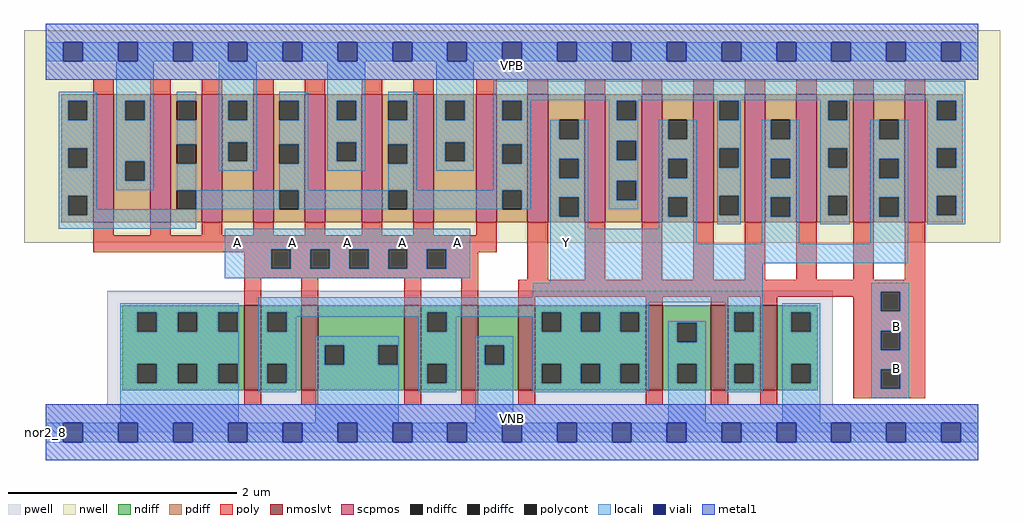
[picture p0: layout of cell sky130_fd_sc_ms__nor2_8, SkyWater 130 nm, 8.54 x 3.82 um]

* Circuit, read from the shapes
.subckt sky130_fd_sc_ms__nor2_8 A B VGND VNB VPB VPWR Y
XM1 Y A VGND VNB sky130_fd_pr__nfet_01v8_lvt w=0.74 l=0.15 m=4
XM2 Y B VGND VNB sky130_fd_pr__nfet_01v8_lvt w=0.74 l=0.15 m=4
XM3 VPWR A n1 VPB sky130_fd_pr__pfet_01v8 w=1.12 l=0.18 m=8
XM4 Y B n1 VPB sky130_fd_pr__pfet_01v8 w=1.12 l=0.18 m=8
.ends

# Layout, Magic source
magic
tech sky130A
magscale 1 2
<< nwell >>
rect -38 332 1670 704
<< pwell >>
rect 108 49 1377 248
rect 0 0 1632 49
<< scpmos >>
rect 83 368 119 592
rect 183 368 219 592
rect 273 368 309 592
rect 363 368 399 592
rect 453 368 489 592
rect 553 368 589 592
rect 643 368 679 592
rect 753 368 789 592
rect 843 368 879 592
rect 943 368 979 592
rect 1043 368 1079 592
rect 1133 368 1169 592
rect 1223 368 1259 592
rect 1313 368 1349 592
rect 1413 368 1449 592
rect 1503 368 1539 592
<< nmoslvt >>
rect 347 74 377 222
rect 447 74 477 222
rect 627 74 657 222
rect 727 74 757 222
rect 827 74 857 222
rect 1050 74 1080 222
rect 1164 74 1194 222
rect 1250 74 1280 222
<< ndiff >>
rect 134 210 347 222
rect 134 176 160 210
rect 194 176 231 210
rect 265 176 302 210
rect 336 176 347 210
rect 134 120 347 176
rect 134 86 160 120
rect 194 86 231 120
rect 265 86 302 120
rect 336 86 347 120
rect 134 74 347 86
rect 377 210 447 222
rect 377 176 388 210
rect 422 176 447 210
rect 377 120 447 176
rect 377 86 388 120
rect 422 86 447 120
rect 377 74 447 86
rect 477 152 627 222
rect 477 118 488 152
rect 522 118 582 152
rect 616 118 627 152
rect 477 74 627 118
rect 657 210 727 222
rect 657 176 668 210
rect 702 176 727 210
rect 657 120 727 176
rect 657 86 668 120
rect 702 86 727 120
rect 657 74 727 86
rect 757 152 827 222
rect 757 118 768 152
rect 802 118 827 152
rect 757 74 827 118
rect 857 210 1050 222
rect 857 176 868 210
rect 902 176 936 210
rect 970 176 1005 210
rect 1039 176 1050 210
rect 857 120 1050 176
rect 857 86 868 120
rect 902 86 936 120
rect 970 86 1005 120
rect 1039 86 1050 120
rect 857 74 1050 86
rect 1080 192 1164 222
rect 1080 158 1105 192
rect 1139 158 1164 192
rect 1080 120 1164 158
rect 1080 86 1105 120
rect 1139 86 1164 120
rect 1080 74 1164 86
rect 1194 210 1250 222
rect 1194 176 1205 210
rect 1239 176 1250 210
rect 1194 120 1250 176
rect 1194 86 1205 120
rect 1239 86 1250 120
rect 1194 74 1250 86
rect 1280 210 1351 222
rect 1280 176 1305 210
rect 1339 176 1351 210
rect 1280 120 1351 176
rect 1280 86 1305 120
rect 1339 86 1351 120
rect 1280 74 1351 86
<< pdiff >>
rect 27 580 83 592
rect 27 546 39 580
rect 73 546 83 580
rect 27 497 83 546
rect 27 463 39 497
rect 73 463 83 497
rect 27 414 83 463
rect 27 380 39 414
rect 73 380 83 414
rect 27 368 83 380
rect 119 580 183 592
rect 119 546 139 580
rect 173 546 183 580
rect 119 474 183 546
rect 119 440 139 474
rect 173 440 183 474
rect 119 368 183 440
rect 219 580 273 592
rect 219 546 229 580
rect 263 546 273 580
rect 219 504 273 546
rect 219 470 229 504
rect 263 470 273 504
rect 219 424 273 470
rect 219 390 229 424
rect 263 390 273 424
rect 219 368 273 390
rect 309 580 363 592
rect 309 546 319 580
rect 353 546 363 580
rect 309 508 363 546
rect 309 474 319 508
rect 353 474 363 508
rect 309 368 363 474
rect 399 580 453 592
rect 399 546 409 580
rect 443 546 453 580
rect 399 504 453 546
rect 399 470 409 504
rect 443 470 453 504
rect 399 424 453 470
rect 399 390 409 424
rect 443 390 453 424
rect 399 368 453 390
rect 489 580 553 592
rect 489 546 509 580
rect 543 546 553 580
rect 489 508 553 546
rect 489 474 509 508
rect 543 474 553 508
rect 489 368 553 474
rect 589 580 643 592
rect 589 546 599 580
rect 633 546 643 580
rect 589 504 643 546
rect 589 470 599 504
rect 633 470 643 504
rect 589 424 643 470
rect 589 390 599 424
rect 633 390 643 424
rect 589 368 643 390
rect 679 580 753 592
rect 679 546 699 580
rect 733 546 753 580
rect 679 508 753 546
rect 679 474 699 508
rect 733 474 753 508
rect 679 368 753 474
rect 789 580 843 592
rect 789 546 799 580
rect 833 546 843 580
rect 789 504 843 546
rect 789 470 799 504
rect 833 470 843 504
rect 789 424 843 470
rect 789 390 799 424
rect 833 390 843 424
rect 789 368 843 390
rect 879 547 943 592
rect 879 513 899 547
rect 933 513 943 547
rect 879 479 943 513
rect 879 445 899 479
rect 933 445 943 479
rect 879 411 943 445
rect 879 377 899 411
rect 933 377 943 411
rect 879 368 943 377
rect 979 580 1043 592
rect 979 546 999 580
rect 1033 546 1043 580
rect 979 510 1043 546
rect 979 476 999 510
rect 1033 476 1043 510
rect 979 440 1043 476
rect 979 406 999 440
rect 1033 406 1043 440
rect 979 368 1043 406
rect 1079 547 1133 592
rect 1079 513 1089 547
rect 1123 513 1133 547
rect 1079 479 1133 513
rect 1079 445 1089 479
rect 1123 445 1133 479
rect 1079 411 1133 445
rect 1079 377 1089 411
rect 1123 377 1133 411
rect 1079 368 1133 377
rect 1169 580 1223 592
rect 1169 546 1179 580
rect 1213 546 1223 580
rect 1169 497 1223 546
rect 1169 463 1179 497
rect 1213 463 1223 497
rect 1169 414 1223 463
rect 1169 380 1179 414
rect 1213 380 1223 414
rect 1169 368 1223 380
rect 1259 547 1313 592
rect 1259 513 1269 547
rect 1303 513 1313 547
rect 1259 479 1313 513
rect 1259 445 1269 479
rect 1303 445 1313 479
rect 1259 411 1313 445
rect 1259 377 1269 411
rect 1303 377 1313 411
rect 1259 368 1313 377
rect 1349 580 1413 592
rect 1349 546 1369 580
rect 1403 546 1413 580
rect 1349 497 1413 546
rect 1349 463 1369 497
rect 1403 463 1413 497
rect 1349 414 1413 463
rect 1349 380 1369 414
rect 1403 380 1413 414
rect 1349 368 1413 380
rect 1449 547 1503 592
rect 1449 513 1459 547
rect 1493 513 1503 547
rect 1449 479 1503 513
rect 1449 445 1459 479
rect 1493 445 1503 479
rect 1449 411 1503 445
rect 1449 377 1459 411
rect 1493 377 1503 411
rect 1449 368 1503 377
rect 1539 580 1605 592
rect 1539 546 1559 580
rect 1593 546 1605 580
rect 1539 497 1605 546
rect 1539 463 1559 497
rect 1593 463 1605 497
rect 1539 414 1605 463
rect 1539 380 1559 414
rect 1593 380 1605 414
rect 1539 368 1605 380
<< ndiffc >>
rect 160 176 194 210
rect 231 176 265 210
rect 302 176 336 210
rect 160 86 194 120
rect 231 86 265 120
rect 302 86 336 120
rect 388 176 422 210
rect 388 86 422 120
rect 488 118 522 152
rect 582 118 616 152
rect 668 176 702 210
rect 668 86 702 120
rect 768 118 802 152
rect 868 176 902 210
rect 936 176 970 210
rect 1005 176 1039 210
rect 868 86 902 120
rect 936 86 970 120
rect 1005 86 1039 120
rect 1105 158 1139 192
rect 1105 86 1139 120
rect 1205 176 1239 210
rect 1205 86 1239 120
rect 1305 176 1339 210
rect 1305 86 1339 120
<< pdiffc >>
rect 39 546 73 580
rect 39 463 73 497
rect 39 380 73 414
rect 139 546 173 580
rect 139 440 173 474
rect 229 546 263 580
rect 229 470 263 504
rect 229 390 263 424
rect 319 546 353 580
rect 319 474 353 508
rect 409 546 443 580
rect 409 470 443 504
rect 409 390 443 424
rect 509 546 543 580
rect 509 474 543 508
rect 599 546 633 580
rect 599 470 633 504
rect 599 390 633 424
rect 699 546 733 580
rect 699 474 733 508
rect 799 546 833 580
rect 799 470 833 504
rect 799 390 833 424
rect 899 513 933 547
rect 899 445 933 479
rect 899 377 933 411
rect 999 546 1033 580
rect 999 476 1033 510
rect 999 406 1033 440
rect 1089 513 1123 547
rect 1089 445 1123 479
rect 1089 377 1123 411
rect 1179 546 1213 580
rect 1179 463 1213 497
rect 1179 380 1213 414
rect 1269 513 1303 547
rect 1269 445 1303 479
rect 1269 377 1303 411
rect 1369 546 1403 580
rect 1369 463 1403 497
rect 1369 380 1403 414
rect 1459 513 1493 547
rect 1459 445 1493 479
rect 1459 377 1493 411
rect 1559 546 1593 580
rect 1559 463 1593 497
rect 1559 380 1593 414
<< poly >>
rect 83 592 119 618
rect 183 592 219 618
rect 273 592 309 618
rect 363 592 399 618
rect 453 592 489 618
rect 553 592 589 618
rect 643 592 679 618
rect 753 592 789 618
rect 843 592 879 618
rect 943 592 979 618
rect 1043 592 1079 618
rect 1133 592 1169 618
rect 1223 592 1259 618
rect 1313 592 1349 618
rect 1413 592 1449 618
rect 1503 592 1539 618
rect 83 345 119 368
rect 183 345 219 368
rect 273 345 309 368
rect 363 345 399 368
rect 453 345 489 368
rect 553 345 589 368
rect 643 345 679 368
rect 753 345 789 368
rect 83 320 789 345
rect 83 315 395 320
rect 347 286 395 315
rect 429 286 463 320
rect 497 286 531 320
rect 565 286 599 320
rect 633 286 667 320
rect 701 315 789 320
rect 701 286 757 315
rect 347 270 757 286
rect 347 222 377 270
rect 447 222 477 270
rect 627 222 657 270
rect 727 222 757 270
rect 843 267 879 368
rect 943 267 979 368
rect 1043 267 1079 368
rect 1133 267 1169 368
rect 1223 267 1259 368
rect 1313 267 1349 368
rect 1413 267 1449 368
rect 1503 267 1539 368
rect 827 246 1539 267
rect 827 237 1461 246
rect 827 222 857 237
rect 1050 222 1080 237
rect 1164 222 1194 237
rect 1250 222 1280 237
rect 1413 212 1461 237
rect 1495 212 1539 246
rect 1413 178 1539 212
rect 1413 144 1461 178
rect 1495 144 1539 178
rect 1413 110 1539 144
rect 1413 76 1461 110
rect 1495 76 1539 110
rect 347 48 377 74
rect 447 48 477 74
rect 627 48 657 74
rect 727 48 757 74
rect 827 48 857 74
rect 1050 48 1080 74
rect 1164 48 1194 74
rect 1250 48 1280 74
rect 1413 60 1539 76
<< polycont >>
rect 395 286 429 320
rect 463 286 497 320
rect 531 286 565 320
rect 599 286 633 320
rect 667 286 701 320
rect 1461 212 1495 246
rect 1461 144 1495 178
rect 1461 76 1495 110
<< locali >>
rect 0 649 31 683
rect 65 649 127 683
rect 161 649 223 683
rect 257 649 319 683
rect 353 649 415 683
rect 449 649 511 683
rect 545 649 607 683
rect 641 649 703 683
rect 737 649 799 683
rect 833 649 895 683
rect 929 649 991 683
rect 1025 649 1087 683
rect 1121 649 1183 683
rect 1217 649 1279 683
rect 1313 649 1375 683
rect 1409 649 1471 683
rect 1505 649 1567 683
rect 1601 649 1632 683
rect 23 580 89 596
rect 23 546 39 580
rect 73 546 89 580
rect 23 497 89 546
rect 23 463 39 497
rect 73 463 89 497
rect 23 414 89 463
rect 123 580 189 649
rect 123 546 139 580
rect 173 546 189 580
rect 123 474 189 546
rect 123 440 139 474
rect 173 440 189 474
rect 123 424 189 440
rect 229 580 263 596
rect 229 504 263 546
rect 229 424 263 470
rect 303 580 369 649
rect 303 546 319 580
rect 353 546 369 580
rect 303 508 369 546
rect 303 474 319 508
rect 353 474 369 508
rect 303 458 369 474
rect 409 580 459 596
rect 443 546 459 580
rect 409 504 459 546
rect 443 470 459 504
rect 409 424 459 470
rect 493 580 559 649
rect 493 546 509 580
rect 543 546 559 580
rect 493 508 559 546
rect 493 474 509 508
rect 543 474 559 508
rect 493 458 559 474
rect 599 580 649 596
rect 633 546 649 580
rect 599 504 649 546
rect 633 470 649 504
rect 599 424 649 470
rect 683 580 749 649
rect 683 546 699 580
rect 733 546 749 580
rect 683 508 749 546
rect 683 474 699 508
rect 733 474 749 508
rect 683 458 749 474
rect 783 581 1609 615
rect 783 580 849 581
rect 783 546 799 580
rect 833 546 849 580
rect 985 580 1037 581
rect 783 504 849 546
rect 783 470 799 504
rect 833 470 849 504
rect 783 424 849 470
rect 23 380 39 414
rect 73 390 89 414
rect 263 390 409 424
rect 443 390 599 424
rect 633 390 799 424
rect 833 390 849 424
rect 883 513 899 547
rect 933 513 949 547
rect 883 479 949 513
rect 883 445 899 479
rect 933 445 949 479
rect 883 411 949 445
rect 73 380 263 390
rect 23 356 263 380
rect 883 377 899 411
rect 933 377 949 411
rect 985 546 999 580
rect 1033 546 1037 580
rect 1175 580 1216 581
rect 985 510 1037 546
rect 985 476 999 510
rect 1033 476 1037 510
rect 985 440 1037 476
rect 985 406 999 440
rect 1033 406 1037 440
rect 985 390 1037 406
rect 1073 513 1089 547
rect 1123 513 1139 547
rect 1073 479 1139 513
rect 1073 445 1089 479
rect 1123 445 1139 479
rect 1073 411 1139 445
rect 883 356 949 377
rect 1073 377 1089 411
rect 1123 377 1139 411
rect 1073 356 1139 377
rect 1175 546 1179 580
rect 1213 546 1216 580
rect 1355 580 1407 581
rect 1175 497 1216 546
rect 1175 463 1179 497
rect 1213 463 1216 497
rect 1175 414 1216 463
rect 1175 380 1179 414
rect 1213 380 1216 414
rect 1175 364 1216 380
rect 1253 513 1269 547
rect 1303 513 1319 547
rect 1253 479 1319 513
rect 1253 445 1269 479
rect 1303 445 1319 479
rect 1253 411 1319 445
rect 1253 377 1269 411
rect 1303 377 1319 411
rect 313 320 743 356
rect 313 286 395 320
rect 429 286 463 320
rect 497 286 531 320
rect 565 286 599 320
rect 633 286 667 320
rect 701 286 743 320
rect 313 270 743 286
rect 883 330 1139 356
rect 1253 330 1319 377
rect 1355 546 1369 580
rect 1403 546 1407 580
rect 1543 580 1609 581
rect 1355 497 1407 546
rect 1355 463 1369 497
rect 1403 463 1407 497
rect 1355 414 1407 463
rect 1355 380 1369 414
rect 1403 380 1407 414
rect 1355 364 1407 380
rect 1443 513 1459 547
rect 1493 513 1509 547
rect 1443 479 1509 513
rect 1443 445 1459 479
rect 1493 445 1509 479
rect 1443 411 1509 445
rect 1443 377 1459 411
rect 1493 377 1509 411
rect 1443 330 1509 377
rect 1543 546 1559 580
rect 1593 546 1609 580
rect 1543 497 1609 546
rect 1543 463 1559 497
rect 1593 463 1609 497
rect 1543 414 1609 463
rect 1543 380 1559 414
rect 1593 380 1609 414
rect 1543 364 1609 380
rect 883 296 1509 330
rect 883 262 1255 296
rect 852 236 1255 262
rect 372 228 1255 236
rect 130 210 338 226
rect 130 176 160 210
rect 194 176 231 210
rect 265 176 302 210
rect 336 176 338 210
rect 130 120 338 176
rect 130 86 160 120
rect 194 86 231 120
rect 265 86 302 120
rect 336 86 338 120
rect 130 17 338 86
rect 372 210 1055 228
rect 372 176 388 210
rect 422 202 668 210
rect 422 176 438 202
rect 372 120 438 176
rect 652 176 668 202
rect 702 202 868 210
rect 702 176 718 202
rect 372 86 388 120
rect 422 86 438 120
rect 372 70 438 86
rect 472 152 618 168
rect 472 118 488 152
rect 522 118 582 152
rect 616 118 618 152
rect 472 17 618 118
rect 652 120 718 176
rect 852 176 868 202
rect 902 176 936 210
rect 970 176 1005 210
rect 1039 176 1055 210
rect 1189 210 1255 228
rect 1445 246 1511 262
rect 652 86 668 120
rect 702 86 718 120
rect 652 70 718 86
rect 752 152 818 168
rect 752 118 768 152
rect 802 118 818 152
rect 752 17 818 118
rect 852 120 1055 176
rect 852 86 868 120
rect 902 86 936 120
rect 970 86 1005 120
rect 1039 86 1055 120
rect 852 70 1055 86
rect 1089 192 1155 194
rect 1089 158 1105 192
rect 1139 158 1155 192
rect 1089 120 1155 158
rect 1089 86 1105 120
rect 1139 86 1155 120
rect 1089 17 1155 86
rect 1189 176 1205 210
rect 1239 176 1255 210
rect 1189 120 1255 176
rect 1189 86 1205 120
rect 1239 86 1255 120
rect 1189 70 1255 86
rect 1289 210 1355 226
rect 1289 176 1305 210
rect 1339 176 1355 210
rect 1289 120 1355 176
rect 1289 86 1305 120
rect 1339 86 1355 120
rect 1289 17 1355 86
rect 1445 212 1461 246
rect 1495 212 1511 246
rect 1445 178 1511 212
rect 1445 144 1461 178
rect 1495 144 1511 178
rect 1445 110 1511 144
rect 1445 76 1461 110
rect 1495 76 1511 110
rect 1445 60 1511 76
rect 0 -17 31 17
rect 65 -17 127 17
rect 161 -17 223 17
rect 257 -17 319 17
rect 353 -17 415 17
rect 449 -17 511 17
rect 545 -17 607 17
rect 641 -17 703 17
rect 737 -17 799 17
rect 833 -17 895 17
rect 929 -17 991 17
rect 1025 -17 1087 17
rect 1121 -17 1183 17
rect 1217 -17 1279 17
rect 1313 -17 1375 17
rect 1409 -17 1471 17
rect 1505 -17 1567 17
rect 1601 -17 1632 17
<< viali >>
rect 31 649 65 683
rect 127 649 161 683
rect 223 649 257 683
rect 319 649 353 683
rect 415 649 449 683
rect 511 649 545 683
rect 607 649 641 683
rect 703 649 737 683
rect 799 649 833 683
rect 895 649 929 683
rect 991 649 1025 683
rect 1087 649 1121 683
rect 1183 649 1217 683
rect 1279 649 1313 683
rect 1375 649 1409 683
rect 1471 649 1505 683
rect 1567 649 1601 683
rect 31 -17 65 17
rect 127 -17 161 17
rect 223 -17 257 17
rect 319 -17 353 17
rect 415 -17 449 17
rect 511 -17 545 17
rect 607 -17 641 17
rect 703 -17 737 17
rect 799 -17 833 17
rect 895 -17 929 17
rect 991 -17 1025 17
rect 1087 -17 1121 17
rect 1183 -17 1217 17
rect 1279 -17 1313 17
rect 1375 -17 1409 17
rect 1471 -17 1505 17
rect 1567 -17 1601 17
<< metal1 >>
rect 0 683 1632 715
rect 0 649 31 683
rect 65 649 127 683
rect 161 649 223 683
rect 257 649 319 683
rect 353 649 415 683
rect 449 649 511 683
rect 545 649 607 683
rect 641 649 703 683
rect 737 649 799 683
rect 833 649 895 683
rect 929 649 991 683
rect 1025 649 1087 683
rect 1121 649 1183 683
rect 1217 649 1279 683
rect 1313 649 1375 683
rect 1409 649 1471 683
rect 1505 649 1567 683
rect 1601 649 1632 683
rect 0 617 1632 649
rect 0 17 1632 49
rect 0 -17 31 17
rect 65 -17 127 17
rect 161 -17 223 17
rect 257 -17 319 17
rect 353 -17 415 17
rect 449 -17 511 17
rect 545 -17 607 17
rect 641 -17 703 17
rect 737 -17 799 17
rect 833 -17 895 17
rect 929 -17 991 17
rect 1025 -17 1087 17
rect 1121 -17 1183 17
rect 1217 -17 1279 17
rect 1313 -17 1375 17
rect 1409 -17 1471 17
rect 1505 -17 1567 17
rect 1601 -17 1632 17
rect 0 -49 1632 -17
<< labels >>
flabel pwell s 0 0 1632 49 0 FreeSans 200 0 0 0 VNB
port 4 nsew ground bidirectional
flabel nwell s 0 617 1632 666 0 FreeSans 200 0 0 0 VPB
port 5 nsew power bidirectional
rlabel comment s 0 0 0 0 4 nor2_8
flabel metal1 s 0 617 1632 666 0 FreeSans 340 0 0 0 VPWR
port 6 nsew power bidirectional
flabel metal1 s 0 0 1632 49 0 FreeSans 340 0 0 0 VGND
port 3 nsew ground bidirectional
flabel locali s 319 316 353 350 0 FreeSans 340 0 0 0 A
port 1 nsew signal input
flabel locali s 415 316 449 350 0 FreeSans 340 0 0 0 A
port 1 nsew signal input
flabel locali s 511 316 545 350 0 FreeSans 340 0 0 0 A
port 1 nsew signal input
flabel locali s 607 316 641 350 0 FreeSans 340 0 0 0 A
port 1 nsew signal input
flabel locali s 703 316 737 350 0 FreeSans 340 0 0 0 A
port 1 nsew signal input
flabel locali s 1471 94 1505 128 0 FreeSans 340 0 0 0 B
port 2 nsew signal input
flabel locali s 1471 168 1505 202 0 FreeSans 340 0 0 0 B
port 2 nsew signal input
flabel locali s 895 316 929 350 0 FreeSans 340 0 0 0 Y
port 7 nsew signal output
<< properties >>
string LEFsite unit
string LEFclass CORE
string FIXED_BBOX 0 0 1632 666
string GDS_FILE $PDKPATH/libs.ref/sky130_fd_sc_ms/gds/sky130_fd_sc_ms.gds
string LEFsymmetry X Y
string GDS_END 3195912
string GDS_START 3184220
<< end >>
